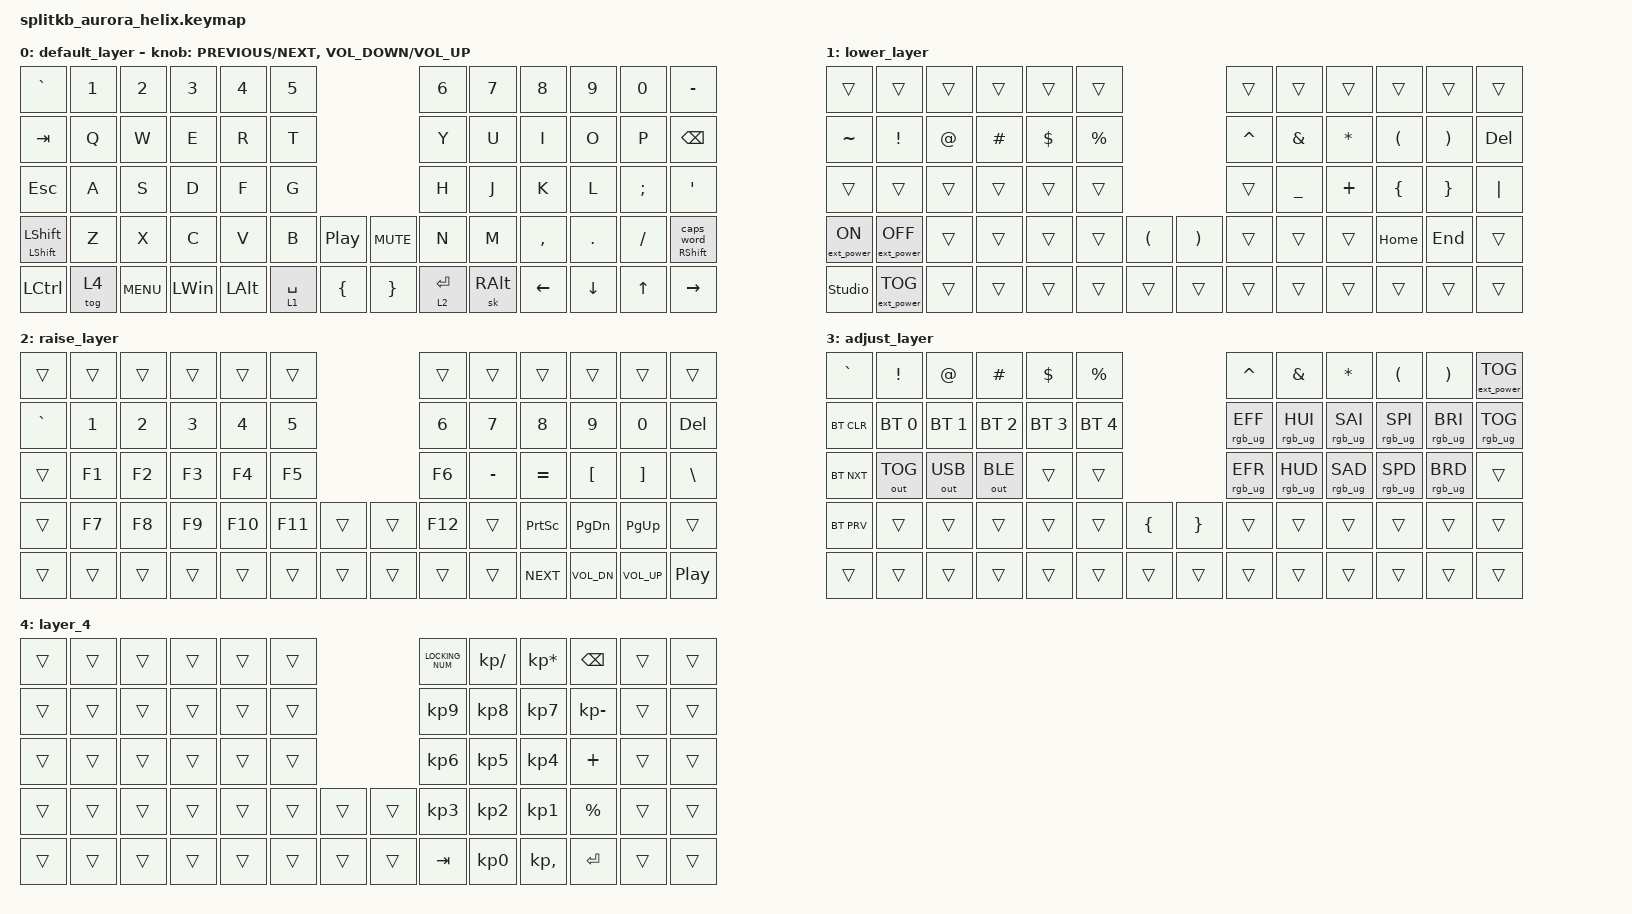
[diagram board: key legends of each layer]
/*
 * Copyright (c) 2023 The ZMK Contributors
 *
 * SPDX-License-Identifier: MIT
 */

#include <behaviors.dtsi>
#include <dt-bindings/zmk/bt.h>
#include <dt-bindings/zmk/ext_power.h>
#include <dt-bindings/zmk/keys.h>
#include <dt-bindings/zmk/outputs.h>
#include <dt-bindings/zmk/rgb.h>

#define DEFAULT 0
#define LOWER  1
#define RAISE  2
#define ADJUST 3
#define NUMPAD 4

/* Uncomment this block if using RGB */

&led_strip {
    // chain-length = <6>;

    chain-length = <38>; // Uncomment if using both per-key and underglow LEDs
    // chain-length = <32>; // Uncomment if using only per-key LEDs.
};

/* NOTE: At the time of the creation of this keymap, there are no specified codes for 'eisuu' and 'kana' input in ZMK.
However, 'LANG1' and 'LANG2' are fully-functioning candidates for 'kana' and 'eisuu' input respectively.
As such, those are in use within the default layer at this time.*/

/ {
    behaviors {
        Tap4sticky_Hold4press: Tap4sticky_Hold4press {
            compatible = "zmk,behavior-hold-tap";
            label = "TAP4STICKY_HOLD4PRESS";
            bindings = <&kp>, <&sk>;

            #binding-cells = <2>;
            tapping-term-ms = <200>;
        };

        Tap4CapsWord_Hold4kp: Tap4CapsWord_Hold4kp {
            compatible = "zmk,behavior-hold-tap";
            label = "TAP4CAPSWORD_HOLD4KP";
            bindings = <&kp>, <&caps_word>;

            #binding-cells = <2>;
            tapping-term-ms = <200>;
        };

        Tap4sticky_Hold4press_LAYER: Tap4sticky_Hold4press_LAYER {
            compatible = "zmk,behavior-hold-tap";
            label = "TAP4STICKY_HOLD4PRESS_LAYER";
            bindings = <&mo>, <&mo>;

            #binding-cells = <2>;
            tapping-term-ms = <200>;
        };
    };

    keymap {
        compatible = "zmk,keymap";

        default_layer {
            // ---------------------------------------------------------------------------------------------------------------------------------
            // | GRAVE  |   1    |   2    |   3    |   4    |   5    |                                      |   6    |   7    |   8    |   9    |   0    |  DEL   |
            // |  TAB   |   Q    |   W    |   E    |   R    |   T    |                                      |   Y    |   U    |   I    |   O    |   P    |  BSPC  |
            // |  CTRL  |   A    |   S    |   D    |   F    |   G    |                                      |   H    |   J    |   K    |   L    |   ;    |   '    |
            // |  SHIFT |   Z    |   X    |   C    |   V    |   B    |  LBKT  |                    |  RBKT  |   N    |   M    |   ,    |   .    |   /    |  RET   |
            // | ADJUST |  ESC   |  ALT   |  LGUI  | EISUU  | LOWER  | SPACE  |                    |  SPACE | RAISE  |  KANA  |  LEFT  |  DOWN  |  UP    |  RIGHT |

            bindings = <
&kp GRAVE                                &kp N1  &kp N2      &kp N3        &kp N4        &kp N5                                            &kp N6       &kp N7         &kp N8     &kp N9      &kp N0     &kp MINUS
&kp TAB                                  &kp Q   &kp W       &kp E         &kp R         &kp T                                             &kp Y        &kp U          &kp I      &kp O       &kp P      &kp BSPC
&kp ESCAPE                               &kp A   &kp S       &kp D         &kp F         &kp G                                             &kp H        &kp J          &kp K      &kp L       &kp SEMI   &kp SQT
&Tap4sticky_Hold4press LSHFT LEFT_SHIFT  &kp Z   &kp X       &kp C         &kp V         &kp B        &kp C_PLAY_PAUSE    &kp C_MUTE       &kp N        &kp M          &kp COMMA  &kp PERIOD  &kp SLASH  &Tap4CapsWord_Hold4kp RIGHT_SHIFT 0
&kp LEFT_CONTROL                         &tog 4  &kp C_MENU  &kp LEFT_WIN  &kp LEFT_ALT  &lt 1 SPACE  &kp LEFT_BRACE      &kp RIGHT_BRACE  &lt 2 ENTER  &sk RIGHT_ALT  &kp LEFT   &kp DOWN    &kp UP     &kp RIGHT
            >;

            sensor-bindings =
                <&inc_dec_kp C_PREVIOUS C_NEXT>,
                <&inc_dec_kp C_VOLUME_DOWN C_VOLUME_UP>;
        };

        lower_layer {
            // ---------------------------------------------------------------------------------------------------------------------------------
            // |      |      |      |      |      |      |                                  |      |      |      |      |      |      |
            // |  ~   |  !   |  @   |  #   |  $   |  %   |                                  |  ^   |  &   |  *   |  (   |  )   |      |
            // |      |      |      |      |      |      |                                  |      |  _   |  +   |  {   |  }   | PIPE |
            // |      |      |      |      |      |      |  (   |                    |  )   |      |      |      | HOME | END  |      |
            // |      |      |      |      |      |      |      |                    |      |      |      |      |      |      |      |

            bindings = <
&trans            &trans             &trans  &trans    &trans    &trans                           &trans     &trans     &trans     &trans    &trans    &trans
&kp TILDE         &kp EXCL           &kp AT  &kp HASH  &kp DLLR  &kp PRCNT                        &kp CARET  &kp AMPS   &kp ASTRK  &kp LPAR  &kp RPAR  &kp DELETE
&trans            &trans             &trans  &trans    &trans    &trans                           &trans     &kp UNDER  &kp PLUS   &kp LBRC  &kp RBRC  &kp PIPE
&ext_power EP_ON  &ext_power EP_OFF  &trans  &trans    &trans    &trans     &kp LPAR    &kp RPAR  &trans     &trans     &trans     &kp HOME  &kp END   &trans
&studio_unlock    &ext_power EP_TOG  &trans  &trans    &trans    &trans     &trans      &trans    &trans     &trans     &trans     &trans    &trans    &trans
            >;
        };

        raise_layer {
            // ---------------------------------------------------------------------------------------------------------------------------------
            // |       |       |       |       |       |       |                                    |       |       |       |       |       |       |
            // |   `   |   1   |   2   |   3   |   4   |   5   |                                    |   6   |   7   |   8   |   9   |   0   |  DEL  |
            // |       |  F1   |  F2   |  F3   |  F4   |  F5   |                                    |  F6   |   -   |   =   |   [   |   ]   |   \   |
            // |       |  F7   |  F8   |  F9   |  F10  |  F11  |       |                    |       |  F12  |       | PSCRN | PG_DN | PG_UP |       |
            // |       |       |       |       |       |       |       |                    |       |       |       | NEXT  | VOL-  | VOL+  | PLAY  |

            bindings = <
&trans     &trans  &trans  &trans  &trans   &trans                     &trans   &trans     &trans      &trans        &trans        &trans
&kp GRAVE  &kp N1  &kp N2  &kp N3  &kp N4   &kp N5                     &kp N6   &kp N7     &kp N8      &kp N9        &kp N0        &kp DEL
&trans     &kp F1  &kp F2  &kp F3  &kp F4   &kp F5                     &kp F6   &kp MINUS  &kp EQUAL   &kp LBKT      &kp RBKT      &kp BSLH
&trans     &kp F7  &kp F8  &kp F9  &kp F10  &kp F11  &trans    &trans  &kp F12  &trans     &kp PSCRN   &kp PG_DN     &kp PG_UP     &trans
&trans     &trans  &trans  &trans  &trans   &trans   &trans    &trans  &trans   &trans     &kp C_NEXT  &kp C_VOL_DN  &kp C_VOL_UP  &kp C_PP
            >;
        };

        adjust_layer {
            // ---------------------------------------------------------------------------------------------------------------------------------
            // |    `     |    !     |    @     |    #     |    $     |    %     |                                          |    ^     |    &     |    *     |    (     |    )     |  EP TOG  |
            // |  BT CLR  | BT SEL0  | BT SEL1  | BT SEL2  | BGT SEL3 | BT SEL4  |                                          | RGB EFF+ | RGB HUE+ | RGB SAT+ | RGB SPD+ | RGB BRI+ | RGB TOG  |
            // |  BT NXT  | OUT TOG  | OUT USB  | OUT BLE  |          |          |                                          | RGB EFF- | RGB HUE- | RGB SAT- | RGB SPD- | RGB BRI- |          |
            // |  BT PRV  |          |          |          |          |          |    {     |                    |    }     |          |          |          |          |          |          |
            // |          |          |          |          |          |          |          |                    |          |          |          |          |          |          |          |

            bindings = <
&kp GRAVE   &kp EXCL      &kp AT        &kp HASH      &kp DLLR      &kp PRCNT                           &kp CARET        &kp AMPS         &kp ASTRK        &kp LPAR         &kp RPAR         &ext_power EP_TOG
&bt BT_CLR  &bt BT_SEL 0  &bt BT_SEL 1  &bt BT_SEL 2  &bt BT_SEL 3  &bt BT_SEL 4                        &rgb_ug RGB_EFF  &rgb_ug RGB_HUI  &rgb_ug RGB_SAI  &rgb_ug RGB_SPI  &rgb_ug RGB_BRI  &rgb_ug RGB_TOG
&bt BT_NXT  &out OUT_TOG  &out OUT_USB  &out OUT_BLE  &trans        &trans                              &rgb_ug RGB_EFR  &rgb_ug RGB_HUD  &rgb_ug RGB_SAD  &rgb_ug RGB_SPD  &rgb_ug RGB_BRD  &trans
&bt BT_PRV  &trans        &trans        &trans        &trans        &trans        &kp LBRC    &kp RBRC  &trans           &trans           &trans           &trans           &trans           &trans
&trans      &trans        &trans        &trans        &trans        &trans        &trans      &trans    &trans           &trans           &trans           &trans           &trans           &trans
            >;
        };

        layer_4 {
            bindings = <
&trans  &trans  &trans  &trans  &trans  &trans                    &kp LOCKING_NUM  &kp KP_DIVIDE    &kp KP_MULTIPLY  &kp BACKSPACE    &trans  &trans
&trans  &trans  &trans  &trans  &trans  &trans                    &kp KP_NUMBER_9  &kp KP_NUMBER_8  &kp KP_NUMBER_7  &kp KP_SUBTRACT  &trans  &trans
&trans  &trans  &trans  &trans  &trans  &trans                    &kp KP_NUMBER_6  &kp KP_NUMBER_5  &kp KP_NUMBER_4  &kp PLUS         &trans  &trans
&trans  &trans  &trans  &trans  &trans  &trans  &trans    &trans  &kp KP_NUMBER_3  &kp KP_NUMBER_2  &kp KP_NUMBER_1  &kp PERCENT      &trans  &trans
&trans  &trans  &trans  &trans  &trans  &trans  &trans    &trans  &kp TAB          &kp KP_NUMBER_0  &kp KP_COMMA     &kp ENTER        &trans  &trans
            >;
        };
    };

    conditional_layers {
        compatible = "zmk,conditional-layers";

        Adjust {
            if-layers = <1 2>;
            then-layer = <3>;
        };
    };
};
